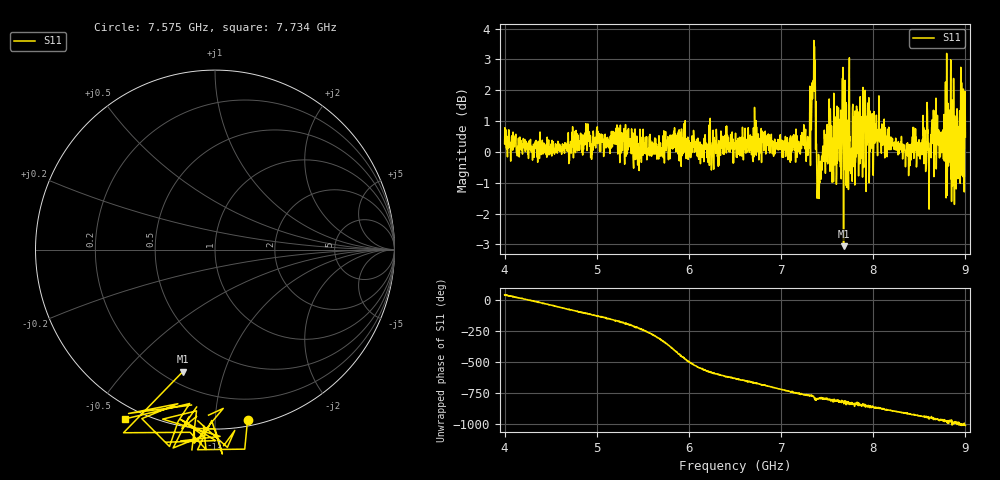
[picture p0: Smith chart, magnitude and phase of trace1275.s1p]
! Created with skrf 1.8.0 (http://scikit-rf.org).
# Hz S RI R 50.0
!freq ReS11 ImS11
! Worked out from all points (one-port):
!   1601 points, 4 GHz to 9 GHz, reference 50 ohm
!   lowest |S11| = -3.1 dB at 7.678 GHz (marker M1), VSWR 5.74, Z = 13.6 - j36.7 ohm
!   |S11| at or under -10 dB: nowhere
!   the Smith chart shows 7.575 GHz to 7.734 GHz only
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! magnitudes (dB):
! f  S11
! 4 GHz  0.3
! 4.625 GHz  0.0
! 5.003 GHz  0.7
! 5.25 GHz  -0.3
! 5.875 GHz  0.1
! 6.5 GHz  0.2
! 7.125 GHz  0.3
! 7.294 GHz  0.2
! 7.347 GHz  2.2
! 7.359 GHz  2.0
! 7.397 GHz  -1.2
! 7.412 GHz  -1.5
! 7.512 GHz  0.8
! 7.578 GHz  1.0
! 7.678 GHz  -3.1
! 7.75 GHz  -0.6
! 7.775 GHz  1.4
! 7.928 GHz  1.2
! 7.981 GHz  0.7
! 8.05 GHz  0.7
! 8.375 GHz  0.1
! 8.594 GHz  0.7
! 8.656 GHz  0.6
! 8.738 GHz  0.2
! 8.819 GHz  -0.3
! 8.869 GHz  0.0
! 8.953 GHz  -0.8
! 9 GHz  0.5
